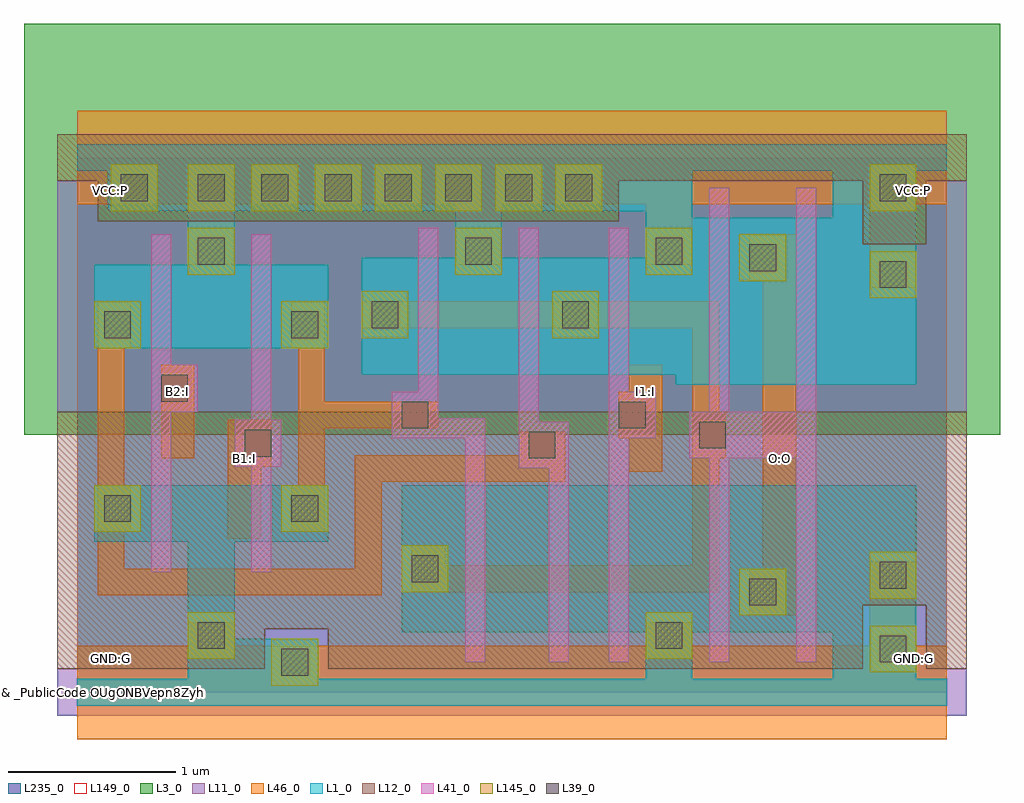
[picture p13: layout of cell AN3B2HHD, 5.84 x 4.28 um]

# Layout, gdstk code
from math import pi, radians
import gdstk
lib = gdstk.Library(unit=1e-6, precision=1e-09)
def R(c, l, rs):  # rectangles x0, y0, x1, y1
    for r in rs: c.add(gdstk.rectangle(r[:2], r[2:], *l))
def P(c, l, *ps):  # polygons
    for p in ps: c.add(gdstk.Polygon(p, *l))
L1_0 = (1, 0)
L3_0 = (3, 0)
L11_0 = (11, 0)
L12_0 = (12, 0)
L39_0 = (39, 0)
L41_0 = (41, 0)
L46_0 = (46, 0)
L145_0 = (145, 0)
L149_0 = (149, 0)
L235_0 = (235, 0)

c_pc = lib.new_cell('PC')
R(c_pc, L39_0, [(-0.08,-0.08,0.08,0.08)])
R(c_pc, L41_0, [(-0.14,-0.14,0.14,0.14)])
R(c_pc, L46_0, [(-0.08,-0.14,0.08,0.14)])

c_mc = lib.new_cell('MC')
R(c_mc, L39_0, [(-0.08,-0.08,0.08,0.08)])
R(c_mc, L46_0, [(-0.08,-0.14,0.08,0.14)])
R(c_mc, L145_0, [(-0.14,-0.14,0.14,0.14)])

khlenmmjedn__41gum4xw0 = lib.new_cell('KHLENMMJEDN$$41Gum4XW0')
R(khlenmmjedn__41gum4xw0, L1_0, [(0,-0.08,5.2,0.08), (0.94,0.08,1.44,0.32), (1.7,1.9,2.26,2.6), (0,3.12,5.2,3.28)])
P(khlenmmjedn__41gum4xw0, L1_0, [(1.5,1.24),(0.66,1.24),(0.66,0.08),(0.94,0.08),(0.94,0.9),(1.5,0.9)],
  [(0.94,3.12),(0.66,3.12),(0.66,2.06),(1.5,2.06),(1.5,2.56),(0.94,2.56)],
  [(0.1,1.24),(0.94,1.24),(0.94,0.08),(0.66,0.08),(0.66,0.9),(0.1,0.9)],
  [(0.66,3.12),(0.94,3.12),(0.94,2.06),(0.1,2.06),(0.1,2.56),(0.66,2.56)],
  [(5.02,1.24),(1.94,1.24),(1.94,0.36),(3.4,0.36),(3.4,0.08),(3.68,0.08),(3.68,0.36),(4.52,0.36),(4.52,0.08),(5.02,0.08)],
  [(5.02,3.12),(4.52,3.12),(4.52,2.84),(3.68,2.84),(3.68,3.12),(3.4,3.12),(3.4,2.6),(2.54,2.6),(2.54,2.88),(3.4,2.88),(3.4,3.12),(0.18,3.12),(0.18,2.88),(2.26,2.88),(2.26,1.9),(3.58,1.9),(3.58,1.84),(5.02,1.84)])
R(khlenmmjedn__41gum4xw0, L3_0, [(-0.32,1.54,5.52,4)])
R(khlenmmjedn__41gum4xw0, L11_0, [(-0.12,-0.14,5.32,0.14), (-0.12,-0.14,5.32,0.14), (-0.12,-0.14,5.32,0.14), (1.12,0.14,1.5,0.38), (4.7,0.14,5.08,0.52)])
P(khlenmmjedn__41gum4xw0, L11_0, [(5.32,3.06),(5.08,3.06),(5.08,2.68),(4.7,2.68),(4.7,3.06),(3.24,3.06),(3.24,2.82),(0.12,2.82),(0.12,3.06),(-0.12,3.06),(-0.12,1.68),(5.32,1.68)])
P(khlenmmjedn__41gum4xw0, L12_0, [(5.32,1.68),(-0.12,1.68),(-0.12,0.14),(1.12,0.14),(1.12,0.38),(1.5,0.38),(1.5,0.14),(4.7,0.14),(4.7,0.52),(5.08,0.52),(5.08,0.14),(5.32,0.14)],
  [(5.32,3.34),(-0.12,3.34),(-0.12,3.06),(0.12,3.06),(0.12,2.82),(3.24,2.82),(3.24,3.06),(4.7,3.06),(4.7,2.68),(5.08,2.68),(5.08,3.06),(5.32,3.06)])
R(khlenmmjedn__41gum4xw0, L41_0, [(3.79,1.4,4.42,1.68)])
R(khlenmmjedn__41gum4xw0, L46_0, [(4.74,0.18,5.02,0.78), (2,0.6,2.2,0.88), (4.74,2.42,5.02,2.92), (0.66,2.56,0.94,2.92), (2.26,2.56,2.54,2.92), (3.4,2.56,3.68,2.92)])
R(khlenmmjedn__41gum4xw0, L149_0, [(0,0,5.2,3.2)])
R(khlenmmjedn__41gum4xw0, L235_0, [(0,0,5.2,3.2), (0,0,5.2,3.2), (0,0,5.2,3.2), (0,0,5.2,3.2), (0,0,5.2,3.2), (0,0,5.2,3.2), (0,0,5.2,3.2), (0,0,5.2,3.2), (0,0,5.2,3.2), (0,0,5.2,3.2), (0,0,5.2,3.2), (0,0,5.2,3.2)])
khlenmmjedn__41gum4xw0.add(gdstk.FlexPath([(0,0),(5.2,0)], 0.56, ends="flush", simple_path=True, layer=46, datatype=0))  # L46_0
khlenmmjedn__41gum4xw0.add(gdstk.FlexPath([(0,3.2),(5.2,3.2)], 0.56, ends="flush", simple_path=True, layer=46, datatype=0))  # L46_0
khlenmmjedn__41gum4xw0.add(gdstk.FlexPath([(2.92,1.34),(1.74,1.34),(1.74,0.66),(0.2,0.66),(0.2,1.24)], 0.16, ends="flush", simple_path=True, layer=46, datatype=0))  # L46_0
khlenmmjedn__41gum4xw0.add(gdstk.FlexPath([(1,0.92),(1,1.63)], 0.2, ends="flush", simple_path=True, layer=46, datatype=0))  # L46_0
khlenmmjedn__41gum4xw0.add(gdstk.FlexPath([(1.4,0.96),(1.4,2.34)], 0.16, ends="flush", simple_path=True, layer=46, datatype=0))  # L46_0
khlenmmjedn__41gum4xw0.add(gdstk.FlexPath([(0.2,0.96),(0.2,2.34)], 0.16, ends="flush", simple_path=True, layer=46, datatype=0))  # L46_0
khlenmmjedn__41gum4xw0.add(gdstk.FlexPath([(3.4,1.32),(3.4,1.96)], 0.2, ends="flush", simple_path=True, layer=46, datatype=0))  # L46_0
khlenmmjedn__41gum4xw0.add(gdstk.FlexPath([(1.32,1.66),(2.16,1.66)], 0.16, ends="flush", simple_path=True, layer=46, datatype=0))  # L46_0
khlenmmjedn__41gum4xw0.add(gdstk.FlexPath([(4.2,0.46),(4.2,2.74)], 0.2, ends="flush", simple_path=True, layer=46, datatype=0))  # L46_0
khlenmmjedn__41gum4xw0.add(gdstk.FlexPath([(0.6,1.4),(0.6,1.96)], 0.2, ends="flush", simple_path=True, layer=46, datatype=0))  # L46_0
khlenmmjedn__41gum4xw0.add(gdstk.FlexPath([(1.7,2.26),(3.76,2.26),(3.76,0.68),(2,0.68)], 0.16, ends="flush", simple_path=True, layer=46, datatype=0))  # L46_0
khlenmmjedn__41gum4xw0.add(gdstk.FlexPath([(5,0),(5,3.2)], 0, ends="flush", simple_path=True, layer=145, datatype=0))  # L145_0
khlenmmjedn__41gum4xw0.add(gdstk.FlexPath([(0,0.2),(5.2,0.2)], 0, ends="flush", simple_path=True, layer=145, datatype=0))  # L145_0
khlenmmjedn__41gum4xw0.add(gdstk.FlexPath([(0,0.6),(5.2,0.6)], 0, ends="flush", simple_path=True, layer=145, datatype=0))  # L145_0
khlenmmjedn__41gum4xw0.add(gdstk.FlexPath([(0,2.6),(5.2,2.6)], 0, ends="flush", simple_path=True, layer=145, datatype=0))  # L145_0
khlenmmjedn__41gum4xw0.add(gdstk.FlexPath([(0.2,0),(0.2,3.2)], 0, ends="flush", simple_path=True, layer=145, datatype=0))  # L145_0
khlenmmjedn__41gum4xw0.add(gdstk.FlexPath([(0.6,0),(0.6,3.2)], 0, ends="flush", simple_path=True, layer=145, datatype=0))  # L145_0
khlenmmjedn__41gum4xw0.add(gdstk.FlexPath([(1,0),(1,3.2)], 0, ends="flush", simple_path=True, layer=145, datatype=0))  # L145_0
khlenmmjedn__41gum4xw0.add(gdstk.FlexPath([(1.4,0),(1.4,3.2)], 0, ends="flush", simple_path=True, layer=145, datatype=0))  # L145_0
khlenmmjedn__41gum4xw0.add(gdstk.FlexPath([(1.8,0),(1.8,3.2)], 0, ends="flush", simple_path=True, layer=145, datatype=0))  # L145_0
khlenmmjedn__41gum4xw0.add(gdstk.FlexPath([(2.2,0),(2.2,3.2)], 0, ends="flush", simple_path=True, layer=145, datatype=0))  # L145_0
khlenmmjedn__41gum4xw0.add(gdstk.FlexPath([(2.6,0),(2.6,3.2)], 0, ends="flush", simple_path=True, layer=145, datatype=0))  # L145_0
khlenmmjedn__41gum4xw0.add(gdstk.FlexPath([(3,0),(3,3.2)], 0, ends="flush", simple_path=True, layer=145, datatype=0))  # L145_0
khlenmmjedn__41gum4xw0.add(gdstk.FlexPath([(0,3),(5.2,3)], 0, ends="flush", simple_path=True, layer=145, datatype=0))  # L145_0
khlenmmjedn__41gum4xw0.add(gdstk.FlexPath([(3.4,0),(3.4,3.2)], 0, ends="flush", simple_path=True, layer=145, datatype=0))  # L145_0
khlenmmjedn__41gum4xw0.add(gdstk.FlexPath([(3.8,0),(3.8,3.2)], 0, ends="flush", simple_path=True, layer=145, datatype=0))  # L145_0
khlenmmjedn__41gum4xw0.add(gdstk.FlexPath([(4.2,0),(4.2,3.2)], 0, ends="flush", simple_path=True, layer=145, datatype=0))  # L145_0
khlenmmjedn__41gum4xw0.add(gdstk.FlexPath([(4.6,0),(4.6,3.2)], 0, ends="flush", simple_path=True, layer=145, datatype=0))  # L145_0
khlenmmjedn__41gum4xw0.add(gdstk.FlexPath([(0,1),(5.2,1)], 0, ends="flush", simple_path=True, layer=145, datatype=0))  # L145_0
khlenmmjedn__41gum4xw0.add(gdstk.FlexPath([(0,1.4),(5.2,1.4)], 0, ends="flush", simple_path=True, layer=145, datatype=0))  # L145_0
khlenmmjedn__41gum4xw0.add(gdstk.FlexPath([(0,1.8),(5.2,1.8)], 0, ends="flush", simple_path=True, layer=145, datatype=0))  # L145_0
khlenmmjedn__41gum4xw0.add(gdstk.FlexPath([(0,2.2),(5.2,2.2)], 0, ends="flush", simple_path=True, layer=145, datatype=0))  # L145_0
khlenmmjedn__41gum4xw0.add(gdstk.FlexPath([(3.24,0.18),(3.24,2.78)], 0.12, ends="flush", simple_path=True, layer=41, datatype=0))  # L41_0
khlenmmjedn__41gum4xw0.add(gdstk.FlexPath([(4.36,0.18),(4.36,3.02)], 0.12, ends="flush", simple_path=True, layer=41, datatype=0))  # L41_0
khlenmmjedn__41gum4xw0.add(gdstk.FlexPath([(1.1,0.72),(1.1,2.74)], 0.12, ends="flush", simple_path=True, layer=41, datatype=0))  # L41_0
khlenmmjedn__41gum4xw0.add(gdstk.FlexPath([(2.7,2.78),(2.7,1.56),(2.88,1.56),(2.88,0.18)], 0.12, ends="flush", simple_path=True, layer=41, datatype=0))  # L41_0
khlenmmjedn__41gum4xw0.add(gdstk.FlexPath([(2.1,2.78),(2.1,1.58),(2.38,1.58),(2.38,0.18)], 0.12, ends="flush", simple_path=True, layer=41, datatype=0))  # L41_0
khlenmmjedn__41gum4xw0.add(gdstk.FlexPath([(0.5,0.72),(0.5,2.74)], 0.12, ends="flush", simple_path=True, layer=41, datatype=0))  # L41_0
khlenmmjedn__41gum4xw0.add(gdstk.FlexPath([(3.84,0.18),(3.84,3.02)], 0.12, ends="flush", simple_path=True, layer=41, datatype=0))  # L41_0
r = gdstk.Reference(c_pc, (2.78,1.48), rotation=pi/2); r.repetition = gdstk.Repetition(1, 1, v1=(0,0.28), v2=(-0.32,0)); khlenmmjedn__41gum4xw0.add(r)
r = gdstk.Reference(c_pc, (3.8,1.54)); r.repetition = gdstk.Repetition(1, 1, v1=(0.28,0), v2=(0,0.32)); khlenmmjedn__41gum4xw0.add(r)
r = gdstk.Reference(c_pc, (0.58,1.82)); r.repetition = gdstk.Repetition(1, 1, v1=(0.28,0), v2=(0,0.32)); khlenmmjedn__41gum4xw0.add(r)
r = gdstk.Reference(c_pc, (2.02,1.66), rotation=pi/2); r.repetition = gdstk.Repetition(1, 1, v1=(0,0.28), v2=(-0.32,0)); khlenmmjedn__41gum4xw0.add(r)
r = gdstk.Reference(c_pc, (1.08,1.49)); r.repetition = gdstk.Repetition(1, 1, v1=(0.28,0), v2=(0,0.32)); khlenmmjedn__41gum4xw0.add(r)
r = gdstk.Reference(c_pc, (3.32,1.66)); r.repetition = gdstk.Repetition(1, 1, v1=(0.28,0), v2=(0,0.32)); khlenmmjedn__41gum4xw0.add(r)
r = gdstk.Reference(c_mc, (4.1,2.6)); r.repetition = gdstk.Repetition(1, 1, v1=(0.28,0), v2=(0,0.32)); khlenmmjedn__41gum4xw0.add(r)
r = gdstk.Reference(c_mc, (3,3.02), rotation=pi/2); r.repetition = gdstk.Repetition(1, 1, v1=(0,0.28), v2=(-0.32,0)); khlenmmjedn__41gum4xw0.add(r)
r = gdstk.Reference(c_mc, (2.08,0.74)); r.repetition = gdstk.Repetition(1, 1, v1=(0.28,0), v2=(0,0.32)); khlenmmjedn__41gum4xw0.add(r)
r = gdstk.Reference(c_mc, (4.1,0.6)); r.repetition = gdstk.Repetition(1, 1, v1=(0.28,0), v2=(0,0.32)); khlenmmjedn__41gum4xw0.add(r)
r = gdstk.Reference(c_mc, (3.54,0.34), rotation=pi/2); r.repetition = gdstk.Repetition(1, 1, v1=(0,0.28), v2=(-0.32,0)); khlenmmjedn__41gum4xw0.add(r)
r = gdstk.Reference(c_mc, (3.54,2.64), rotation=pi/2); r.repetition = gdstk.Repetition(1, 1, v1=(0,0.28), v2=(-0.32,0)); khlenmmjedn__41gum4xw0.add(r)
r = gdstk.Reference(c_mc, (1.84,2.26), rotation=pi/2); r.repetition = gdstk.Repetition(1, 1, v1=(0,0.28), v2=(-0.32,0)); khlenmmjedn__41gum4xw0.add(r)
r = gdstk.Reference(c_mc, (2.4,2.64), rotation=pi/2); r.repetition = gdstk.Repetition(1, 1, v1=(0,0.28), v2=(-0.32,0)); khlenmmjedn__41gum4xw0.add(r)
r = gdstk.Reference(c_mc, (1.92,3.02), rotation=pi/2); r.repetition = gdstk.Repetition(1, 1, v1=(0,0.28), v2=(-0.32,0)); khlenmmjedn__41gum4xw0.add(r)
r = gdstk.Reference(c_mc, (0.24,2.2), rotation=pi, x_reflection=True); r.repetition = gdstk.Repetition(1, 1, v1=(-0.28,0), v2=(0,0.32)); khlenmmjedn__41gum4xw0.add(r)
r = gdstk.Reference(c_mc, (4.88,3.02), rotation=pi/2); r.repetition = gdstk.Repetition(1, 1, v1=(0,0.28), v2=(-0.32,0)); khlenmmjedn__41gum4xw0.add(r)
r = gdstk.Reference(c_mc, (2.64,3.02), rotation=pi/2); r.repetition = gdstk.Repetition(1, 1, v1=(0,0.28), v2=(-0.32,0)); khlenmmjedn__41gum4xw0.add(r)
r = gdstk.Reference(c_mc, (0.24,1.1), rotation=pi, x_reflection=True); r.repetition = gdstk.Repetition(1, 1, v1=(-0.28,0), v2=(0,0.32)); khlenmmjedn__41gum4xw0.add(r)
r = gdstk.Reference(c_mc, (2.28,3.02), rotation=pi/2); r.repetition = gdstk.Repetition(1, 1, v1=(0,0.28), v2=(-0.32,0)); khlenmmjedn__41gum4xw0.add(r)
r = gdstk.Reference(c_mc, (0.34,3.02), rotation=pi/2); r.repetition = gdstk.Repetition(1, 1, v1=(0,0.28), v2=(-0.32,0)); khlenmmjedn__41gum4xw0.add(r)
r = gdstk.Reference(c_mc, (1.18,3.02), rotation=pi/2); r.repetition = gdstk.Repetition(1, 1, v1=(0,0.28), v2=(-0.32,0)); khlenmmjedn__41gum4xw0.add(r)
r = gdstk.Reference(c_mc, (1.36,1.1)); r.repetition = gdstk.Repetition(1, 1, v1=(0.28,0), v2=(0,0.32)); khlenmmjedn__41gum4xw0.add(r)
r = gdstk.Reference(c_mc, (1.36,2.2)); r.repetition = gdstk.Repetition(1, 1, v1=(0.28,0), v2=(0,0.32)); khlenmmjedn__41gum4xw0.add(r)
r = gdstk.Reference(c_mc, (0.8,3.02), rotation=pi/2); r.repetition = gdstk.Repetition(1, 1, v1=(0,0.28), v2=(-0.32,0)); khlenmmjedn__41gum4xw0.add(r)
r = gdstk.Reference(c_mc, (0.8,2.64), rotation=pi/2); r.repetition = gdstk.Repetition(1, 1, v1=(0,0.28), v2=(-0.32,0)); khlenmmjedn__41gum4xw0.add(r)
r = gdstk.Reference(c_mc, (0.8,0.34), rotation=pi/2); r.repetition = gdstk.Repetition(1, 1, v1=(0,0.28), v2=(-0.32,0)); khlenmmjedn__41gum4xw0.add(r)
r = gdstk.Reference(c_mc, (1.3,0.18), rotation=pi/2); r.repetition = gdstk.Repetition(1, 1, v1=(0,0.28), v2=(-0.32,0)); khlenmmjedn__41gum4xw0.add(r)
r = gdstk.Reference(c_mc, (1.56,3.02), rotation=pi/2); r.repetition = gdstk.Repetition(1, 1, v1=(0,0.28), v2=(-0.32,0)); khlenmmjedn__41gum4xw0.add(r)
r = gdstk.Reference(c_mc, (4.88,2.5), rotation=pi/2, x_reflection=True); r.repetition = gdstk.Repetition(1, 1, v1=(0,0.28), v2=(0.32,0)); khlenmmjedn__41gum4xw0.add(r)
r = gdstk.Reference(c_mc, (4.88,0.26), rotation=pi/2, x_reflection=True); r.repetition = gdstk.Repetition(1, 1, v1=(0,0.28), v2=(0.32,0)); khlenmmjedn__41gum4xw0.add(r)
r = gdstk.Reference(c_mc, (4.88,0.7), rotation=pi/2); r.repetition = gdstk.Repetition(1, 1, v1=(0,0.28), v2=(-0.32,0)); khlenmmjedn__41gum4xw0.add(r)
r = gdstk.Reference(c_mc, (2.98,2.26), rotation=pi/2); r.repetition = gdstk.Repetition(1, 1, v1=(0,0.28), v2=(-0.32,0)); khlenmmjedn__41gum4xw0.add(r)
khlenmmjedn__41gum4xw0.add(gdstk.Label('#Id:7JQJaQKD4XF6RXVVZbbHNLABMd97ZLCaK99JL0306AKC574T4A3EOSP8MXXWHY99T6WBH22210RAL9', (0.02,0.02), layer=147, texttype=0))
khlenmmjedn__41gum4xw0.add(gdstk.Label('AN3B2HHD', (0,0), layer=144, texttype=0))
khlenmmjedn__41gum4xw0.add(gdstk.Label('VCC:P', (0.2,3), layer=101, texttype=0))
khlenmmjedn__41gum4xw0.add(gdstk.Label('VCC:P', (5,3), layer=101, texttype=0))
khlenmmjedn__41gum4xw0.add(gdstk.Label('GND:G', (0.2,0.2), layer=101, texttype=0))
khlenmmjedn__41gum4xw0.add(gdstk.Label('GND:G', (5,0.2), layer=101, texttype=0))
khlenmmjedn__41gum4xw0.add(gdstk.Label('B1:I', (1,1.4), layer=101, texttype=0))
khlenmmjedn__41gum4xw0.add(gdstk.Label('O:O', (4.2,1.4), layer=101, texttype=0))
khlenmmjedn__41gum4xw0.add(gdstk.Label('I1:I', (3.4,1.8), layer=101, texttype=0))
khlenmmjedn__41gum4xw0.add(gdstk.Label('B2:I', (0.6,1.8), layer=101, texttype=0))

an3b2hhd = lib.new_cell('AN3B2HHD')
R(an3b2hhd, L149_0, [(0,0,5.2,3.2)])
an3b2hhd.add(gdstk.Reference(khlenmmjedn__41gum4xw0, (0,0)))
an3b2hhd.add(gdstk.Label('& _PublicCode OUgONBVepn8Zyhuhb7nzKSFGv0ozQ4p7', (0,0), layer=3, texttype=0))
an3b2hhd.add(gdstk.Label('& Metric 16.64', (0,0), layer=3, texttype=0))
an3b2hhd.add(gdstk.Label('& Version 2009Q1V3.0', (0,0), layer=3, texttype=0))
an3b2hhd.add(gdstk.Label('& Product FSC0H_D_GENERIC_CORE', (0,0), layer=3, texttype=0))
an3b2hhd.add(gdstk.Label('& Vendor Faraday_Technology_Corp.', (0,0), layer=3, texttype=0))
an3b2hhd.add(gdstk.Label('#Id:7JQJaQKD4XF6RXVVZbbHNLABMd97ZLCaK99JL0306AKC574T4A3EOSP8MXXWHY99T6WBH22210RAL9', (0.02,0.02), layer=147, texttype=0))
an3b2hhd.add(gdstk.Label('AN3B2HHD', (0,0), layer=144, texttype=0))
an3b2hhd.add(gdstk.Label('VCC:P', (0.2,3), layer=101, texttype=0))
an3b2hhd.add(gdstk.Label('VCC:P', (5,3), layer=101, texttype=0))
an3b2hhd.add(gdstk.Label('GND:G', (0.2,0.2), layer=101, texttype=0))
an3b2hhd.add(gdstk.Label('GND:G', (5,0.2), layer=101, texttype=0))
an3b2hhd.add(gdstk.Label('B1:I', (1,1.4), layer=101, texttype=0))
an3b2hhd.add(gdstk.Label('O:O', (4.2,1.4), layer=101, texttype=0))
an3b2hhd.add(gdstk.Label('I1:I', (3.4,1.8), layer=101, texttype=0))
an3b2hhd.add(gdstk.Label('B2:I', (0.6,1.8), layer=101, texttype=0))

lib.write_gds('AN3B2HHD.gds')
